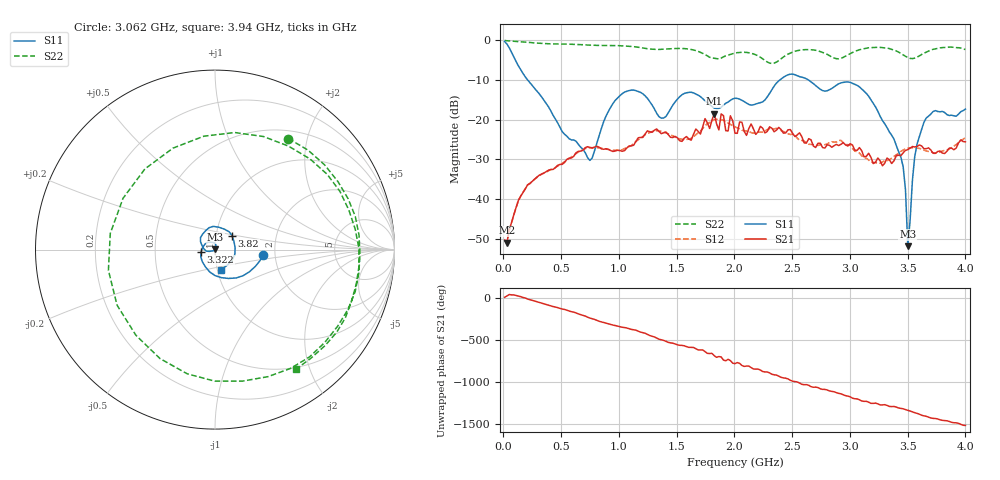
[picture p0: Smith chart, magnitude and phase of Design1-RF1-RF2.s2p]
! 9/28/2016 12:54:57 PM
! C:\USERS\ANRITSUUSER\DESKTOP\SWITCHES\DESIGN1-RF1-RF2.S2P
! CHANNEL.1
! TR.MEASUREMENT
! CORRECTED.DATA
# GHZ S RI R 50.0
! FREQ.GHZ  S11RE  S11IM  S21RE  S21IM  S12RE  S12IM  S22RE  S22IM
!; PortSelection: Port_12
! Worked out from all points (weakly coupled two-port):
!   201 points, 10 MHz to 4 GHz, reference 50 ohm
!   highest |S21| = -18.53 dB at 1.825 GHz (marker M1); lowest = -51.0 dB at 29.95 MHz (marker M2)
!   lowest |S11| = -51.9 dB at 3.501 GHz (marker M3), VSWR 1.01, Z = 50.2 + j0.168 ohm
!   |S11| at or under -10 dB: 209.3 MHz to 2.394 GHz (2.184 GHz wide, 168 % of centre); 2.64 GHz to end of sweep
!   |S22| runs from -5.9 to -0.1 dB; largest |S21 - S12| = 0.032
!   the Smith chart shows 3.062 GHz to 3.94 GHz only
!   S11 on the Smith chart (normalised r, x): 3.062 GHz: 1.73, -0.10; 3.322 GHz: 0.85, -0.02; 3.82 GHz: 1.19, +0.19; 3.94 GHz: 1.05, -0.24
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0.01  0.9461 -0.1743  0.00304 0.000167  0.00303 0.000166  0.9838 -0.1383
0.02995  0.7881 -0.4284  0.00267 0.000878  0.00267 0.000863  0.9151 -0.3643
0.22945  -0.1666 -0.2402  0.0142 -0.00676  0.0141 -0.0067  -0.8952 -0.2766
0.38905  -0.1407 0.0378  -0.000566 -0.023  -0.000346 -0.0226  -0.0217 0.9033
0.54865  0.0444 0.043  -0.0273 -0.0157  -0.0269 -0.0149  0.8821 -0.1498
0.6883  0.0293 -0.0304  -0.0349 0.0217  -0.0351 0.0226  -0.2772 -0.8331
0.90775  0.0921 -0.0864  0.0296 0.0304  0.0285 0.0309  -0.2081 0.8329
1.10725  -0.1502 -0.1809  0.044 -0.0154  0.0447 -0.0147  0.8254 -0.1254
1.34665  -0.1047 0.0299  -0.0507 -0.0495  -0.0477 -0.054  -0.7581 0.1081
1.62595  -0.0866 0.2032  -0.033 0.0442  -0.032 0.0486  0.7562 0.1101
1.82545  0.1285 -0.0538  0.1054 0.0541  0.0817 0.057  -0.5021 -0.3152
2.005  -0.1639 -0.0878  0.0272 -0.0616  0.0406 -0.0699  0.2481 0.642
2.3641  -0.2683 0.1067  -0.0676 0.0291  -0.0693 0.0348  -0.5033 0.1679
2.6833  0.0905 0.2692  0.0455 0.00994  0.0446 0.0189  0.6988 -0.2858
2.90275  0.1746 0.2223  0.0235 -0.0409  0.0273 -0.047  -0.5823 0.0315
3.06235  0.2688 -0.0276  -0.0242 -0.0331  -0.0262 -0.0293  0.4093 0.6188
3.3217  -0.078 -0.0136  -0.03 0.0131  -0.0285 0.0106  0.5267 -0.598
3.34165  -0.069 0.0118  -0.0252 0.0185  -0.0281 0.0132  0.4221 -0.6616
3.50125  0.00192 0.00167  -0.00554 0.0414  -0.00367 0.0435  -0.5938 -0.1155
3.82045  0.0946 0.0785  0.0342 -0.0151  0.0385 -0.0143  0.787 -0.1922
3.94015  0.0351 -0.1118  0.0279 -0.0423  0.0271 -0.0436  0.4514 -0.6663
4  -0.0705 -0.116  0.00701 -0.052  0.00852 -0.0586  0.1296 -0.7515
